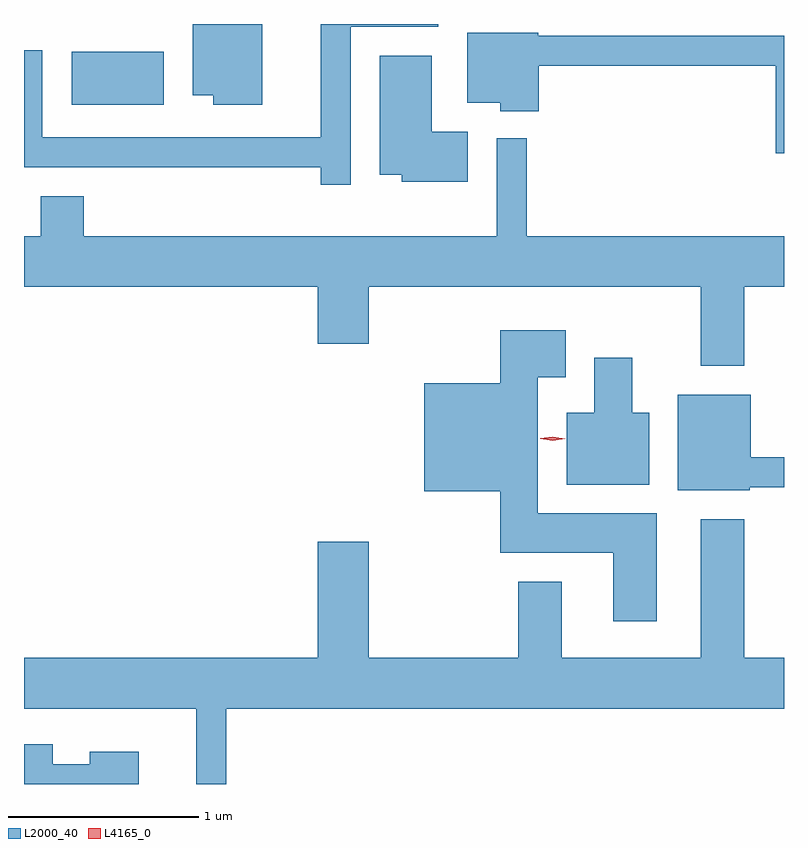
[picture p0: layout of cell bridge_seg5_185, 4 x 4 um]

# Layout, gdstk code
import gdstk
lib = gdstk.Library(unit=1e-6, precision=1e-09)
def R(c, l, rs):  # rectangles x0, y0, x1, y1
    for r in rs: c.add(gdstk.rectangle(r[:2], r[2:], *l))
def P(c, l, *ps):  # polygons
    for p in ps: c.add(gdstk.Polygon(p, *l))
L2000_40 = (2000, 40)
L4165_0 = (4165, 0)

bridge_seg5_185 = lib.new_cell('bridge_seg5_185')
R(bridge_seg5_185, L2000_40, [(1312.681,1411.136,1313.164,1411.414)])
P(bridge_seg5_185, L2000_40, [(1313.684,1411.56),(1313.316,1411.56),(1313.316,1411.186),(1313.426,1411.186),(1313.426,1411.136),(1313.684,1411.136)],
  [(1314.149,1411.546),(1314.609,1411.546),(1314.609,1411.56),(1313.991,1411.56),(1313.991,1410.964),(1312.524,1410.964),(1312.524,1411.423),(1312.429,1411.423),(1312.429,1410.806),(1313.991,1410.806),(1313.991,1410.713),(1314.149,1410.713)],
  [(1316.429,1411.499),(1315.135,1411.499),(1315.135,1411.514),(1314.761,1411.514),(1314.761,1411.146),(1314.936,1411.146),(1314.936,1411.101),(1315.139,1411.101),(1315.139,1411.341),(1316.386,1411.341),(1316.386,1410.881),(1316.429,1410.881)],
  [(1314.764,1410.994),(1314.574,1410.994),(1314.574,1411.394),(1314.301,1411.394),(1314.301,1410.766),(1314.416,1410.766),(1314.416,1410.731),(1314.764,1410.731)],
  [(1316.219,1410.176),(1316.429,1410.176),(1316.429,1410.444),(1315.074,1410.444),(1315.074,1410.958),(1314.916,1410.958),(1314.916,1410.444),(1312.744,1410.444),(1312.744,1410.654),(1312.516,1410.654),(1312.516,1410.444),(1312.429,1410.444),(1312.429,1410.176),(1313.976,1410.176),(1313.976,1409.876),(1314.244,1409.876),(1314.244,1410.176),(1315.991,1410.176),(1315.991,1409.761),(1316.219,1409.761)],
  [(1315.759,1408.984),(1315.134,1408.984),(1315.134,1409.701),(1315.279,1409.701),(1315.279,1409.949),(1314.936,1409.949),(1314.936,1409.669),(1314.536,1409.669),(1314.536,1409.101),(1314.936,1409.101),(1314.936,1408.776),(1315.531,1408.776),(1315.531,1408.416),(1315.759,1408.416)],
  [(1315.719,1409.514),(1315.629,1409.514),(1315.629,1409.804),(1315.431,1409.804),(1315.431,1409.514),(1315.286,1409.514),(1315.286,1409.136),(1315.719,1409.136)],
  [(1316.25,1409.121),(1316.429,1409.121),(1316.429,1409.279),(1316.254,1409.279),(1316.254,1409.609),(1315.871,1409.609),(1315.871,1409.106),(1316.25,1409.106)],
  [(1313.494,1407.956),(1316.429,1407.956),(1316.429,1408.224),(1316.219,1408.224),(1316.219,1408.954),(1315.991,1408.954),(1315.991,1408.224),(1315.259,1408.224),(1315.259,1408.624),(1315.031,1408.624),(1315.031,1408.224),(1314.244,1408.224),(1314.244,1408.834),(1313.976,1408.834),(1313.976,1408.224),(1312.429,1408.224),(1312.429,1407.956),(1313.336,1407.956),(1313.336,1407.56),(1313.494,1407.56)],
  [(1313.034,1407.729),(1312.776,1407.729),(1312.776,1407.664),(1312.579,1407.664),(1312.579,1407.768),(1312.429,1407.768),(1312.429,1407.56),(1313.034,1407.56)])
P(bridge_seg5_185, L4165_0, [(1315.212,1409.367),(1315.146,1409.378),(1315.146,1409.378),(1315.146,1409.379),(1315.212,1409.387),(1315.277,1409.376),(1315.278,1409.376),(1315.277,1409.376)])

lib.write_gds('bridge_seg5_185.gds')
